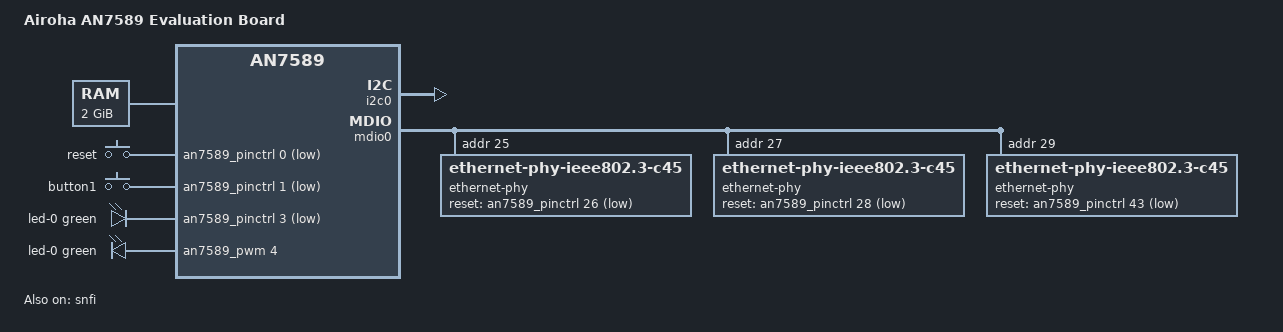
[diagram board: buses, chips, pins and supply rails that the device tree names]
// SPDX-License-Identifier: (GPL-2.0-only OR BSD-2-Clause)
/dts-v1/;

#include <dt-bindings/gpio/gpio.h>
#include <dt-bindings/input/input.h>
#include <dt-bindings/leds/common.h>
#include "an7589.dtsi"

/ {
	model = "Airoha AN7589 Evaluation Board";
	compatible = "airoha,an7589-evb", "airoha,an7589";

	aliases {
		serial0 = &uart1;
	};

	chosen {
		stdout-path = "serial0:115200n8";
	};

	memory@80000000 {
		device_type = "memory";
		reg = <0x0 0x80000000 0x0 0x80000000>;
	};

	gpio-keys {
		compatible = "gpio-keys";

		button-0 {
			label = "reset";
			linux,code = <KEY_RESTART>;
			gpios = <&an7589_pinctrl 0 GPIO_ACTIVE_LOW>;
		};

		button-1 {
			label = "button1";
			linux,code = <BTN_0>;
			gpios = <&an7589_pinctrl 1 GPIO_ACTIVE_LOW>;
		};
	};

	leds {
		compatible = "gpio-leds";

		led-0 {
			color = <LED_COLOR_ID_GREEN>;
			function = LED_FUNCTION_POWER;
			gpios = <&an7589_pinctrl 3 GPIO_ACTIVE_LOW>;
			default-state = "on";
		};
	};

	pwm-leds {
		compatible = "pwm-leds";
		pinctrl-names = "default";
		pinctrl-0 = <&pwm_gpio4_pins>;

		led-0 {
			color = <LED_COLOR_ID_GREEN>;
			function = LED_FUNCTION_STATUS;
			pwms = <&an7589_pwm 4 4000000 0>;
			max-brightness = <255>;
			active-low;
		};
	};
};

&an7589_pinctrl {
	gpio-ranges = <&an7589_pinctrl 0 0 74>;

	pwm_gpio4_pins: pwm-gpio4-pins {
		mux {
			function = "pwm";
			groups = "gpio4";
		};

		conf {
			pins = "gpio4";
			output-enable;
		};
	};
};

&i2c0 {
	pinctrl-names = "default";
	pinctrl-0 = <&i2c0_pins>;
	status = "okay";
};

&mdio0 {
	pinctrl-names = "default";
	pinctrl-0 = <&mdio0_pins>;
	#address-cells = <1>;
	#size-cells = <0>;
	status = "okay";

	ethernet-phy@19 {
		compatible = "ethernet-phy-ieee802.3-c45";
		reg = <0x19>;
		reset-gpios = <&an7589_pinctrl 26 GPIO_ACTIVE_LOW>;
		reset-assert-us = <200000>;
		reset-deassert-us = <350000>;
	};

	ethernet-phy@1b {
		compatible = "ethernet-phy-ieee802.3-c45";
		reg = <0x1b>;
		reset-gpios = <&an7589_pinctrl 28 GPIO_ACTIVE_LOW>;
		reset-assert-us = <200000>;
		reset-deassert-us = <350000>;
	};

	ethernet-phy@1d {
		compatible = "ethernet-phy-ieee802.3-c45";
		reg = <0x1d>;
		reset-gpios = <&an7589_pinctrl 43 GPIO_ACTIVE_LOW>;
		reset-assert-us = <200000>;
		reset-deassert-us = <350000>;
	};
};

&snfi {
	status = "okay";
};

&spi_nand {
	partitions {
		compatible = "fixed-partitions";
		#address-cells = <1>;
		#size-cells = <1>;

		bl2@0 {
			label = "bl2";
			reg = <0x00000000 0x00200000>;
			read-only;
		};

		ubi@200000 {
			compatible = "linux,ubi";
			label = "ubi";
			reg = <0x00200000 0x00000000>;

			volumes {
				ubi-volume-fip {
					volname = "fip";
				};

				ubi-volume-ubootenv {
					volname = "ubootenv";
				};

				ubi-volume-ubootenv2 {
					volname = "ubootenv2";
				};

				ubi-volume-art {
					volname = "art";
				};

				ubi-volume-kernel {
					volname = "kernel";
				};

				ubi-volume-rootfs {
					volname = "rootfs";
				};

				ubi-volume-kernel-alt {
					volname = "kernel_alt";
				};

				ubi-volume-rootfs-alt {
					volname = "rootfs_alt";
				};

				ubi-volume-rootfs-data {
					volname = "rootfs_data";
				};
			};
		};
	};
};
